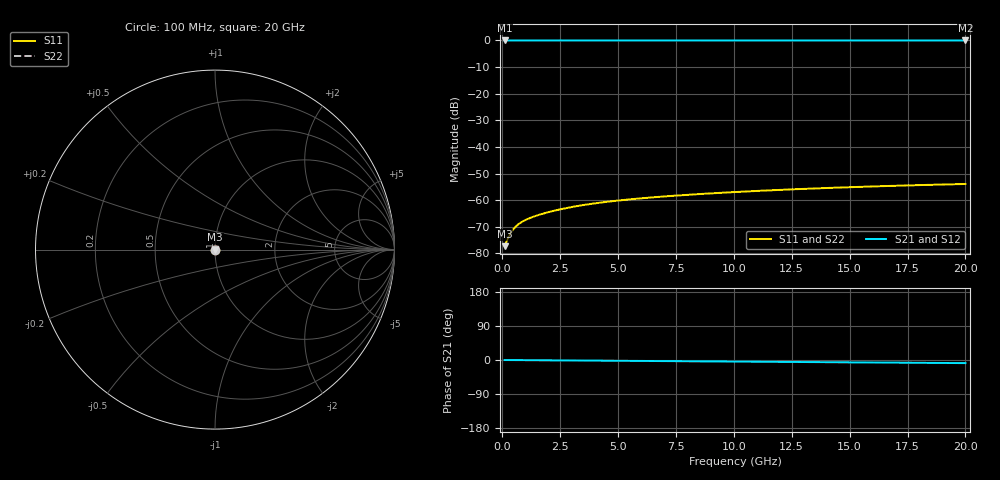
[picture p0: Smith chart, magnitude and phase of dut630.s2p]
! Touchstone file exported from HFSS 2026.1.0
!  File:  C:/ffzhzh/LocalFiles/Ansys_Project_Files/temp_train_TSV_630_1783026208_4048.aedt
!  Generated:  05:05:09 AM Jul  3, 2026
!  Design:  TSV
!  Project:  temp_train_TSV_630_1783026208_4048
! Variables:
!  h_bsmrdl = 2um
!  h_ox = 20um
!  h_rdl = 5um
!  h_sub = 83.37um
!  h_tmrdl = 5um
!  h_tsv = 83.37um
!  h_via = 3um
!  l_bsmrdl = 300um
!  l_sub = 420.64um
!  l_tmrdl = 200um
!  m_sub = 200um
!  pitch = 42.18um
!  r_tsv = 10.32um
!  s_tmrdl = 10um
!  w_bsmrdl = 18um
!  w_sub = 500um
!  w_tmrdl = 12um
!  x_tsv_center1 = 206um
!  x_tsv_center2 = 524um
!  x_tsv_center3 = 736um
!  x_tsv_center4 = 1054um
!  x_tsv_center5 = 1266um
!  x_tsv_center6 = 1584um
# GHz S MA R 50.000000
! Terminal data exported
! Port[1] = TSV1_1_T1
! Port[2] = TSV1_1_T2
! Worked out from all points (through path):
!   200 points, 100 MHz to 20 GHz, reference 50 ohm
!   highest |S21| = 0.00 dB at 100 MHz (marker M1); lowest = 0.0 dB at 20 GHz (marker M2)
!   group delay of S21, straight-line fit = 1.14 ps
!   lowest |S11| = -77.3 dB at 100 MHz (marker M3), VSWR 1.00, Z = 50 + j0.00523 ohm
!   |S11| at or under -10 dB: start of sweep to end of sweep
!   |S22| runs from -77.3 to -53.9 dB; largest |S21 - S12| = 3e-15
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0.1  0.0001366 22.5  0.9999 -0.0  0.9999 -0.0  0.0001366 22.5
! Gamma 0 0 0 0
! Port Impedance 50 0 50 0
0.2  0.0001726 35.7  0.9999 -0.1  0.9999 -0.1  0.0001726 35.7
0.3  0.0002146 41.7  0.9998 -0.1  0.9998 -0.1  0.0002146 41.7
0.4  0.0002554 44.1  0.9998 -0.2  0.9998 -0.2  0.0002554 44.1
0.5  0.0002923 44.9  0.9998 -0.2  0.9998 -0.2  0.0002923 44.9
0.6  0.0003249 45.0  0.9998 -0.3  0.9998 -0.3  0.0003249 45.0
0.7  0.0003537 44.9  0.9997 -0.3  0.9997 -0.3  0.0003537 44.9
0.9  0.0004026 44.7  0.9997 -0.4  0.9997 -0.4  0.0004026 44.7
1.1  0.0004438 44.6  0.9997 -0.5  0.9997 -0.5  0.0004439 44.6
1.3  0.0004808 44.8  0.9996 -0.5  0.9996 -0.5  0.0004808 44.8
1.6  0.0005319 45.2  0.9996 -0.7  0.9996 -0.7  0.0005319 45.2
1.9  0.0005803 45.7  0.9996 -0.8  0.9996 -0.8  0.0005803 45.7
2.6  0.0006862 46.4  0.9995 -1.1  0.9995 -1.1  0.0006862 46.4
3.5  0.0008091 46.6  0.9995 -1.5  0.9995 -1.5  0.0008091 46.6
4.2  0.0008946 46.4  0.9994 -1.7  0.9994 -1.7  0.0008947 46.4
5  0.0009831 46.2  0.9993 -2.1  0.9993 -2.1  0.0009832 46.2
6.8  0.001157 45.6  0.9992 -2.8  0.9992 -2.8  0.001157 45.6
8.3  0.001284 45.2  0.9991 -3.4  0.9991 -3.4  0.001284 45.1
10.1  0.001424 44.6  0.9991 -4.2  0.9991 -4.2  0.001425 44.6
13.4  0.001653 43.5  0.9989 -5.5  0.9989 -5.5  0.001654 43.5
16.7  0.001849 42.1  0.9988 -6.9  0.9988 -6.9  0.00185 42.1
20  0.002012 40.7  0.9987 -8.2  0.9987 -8.2  0.002014 40.6
